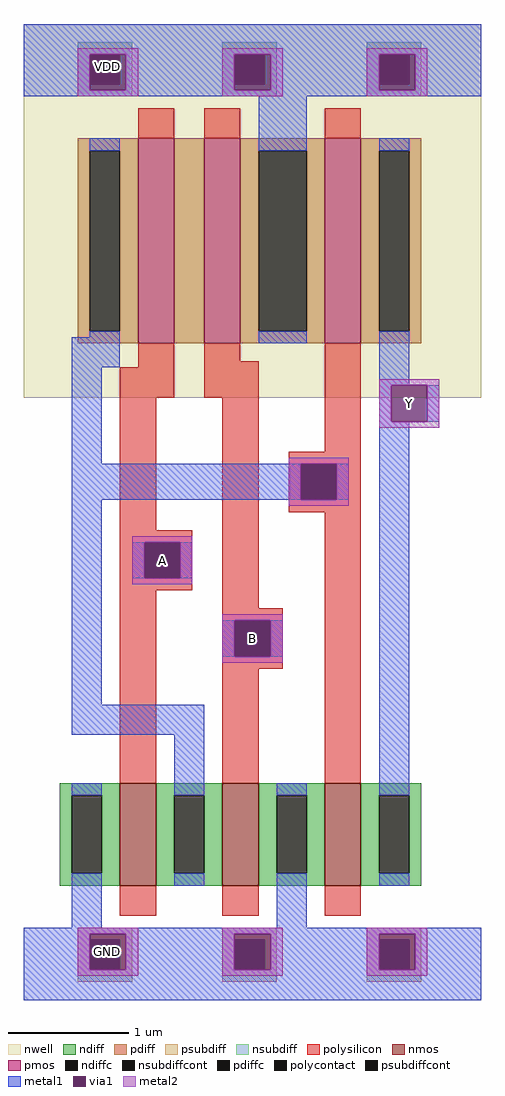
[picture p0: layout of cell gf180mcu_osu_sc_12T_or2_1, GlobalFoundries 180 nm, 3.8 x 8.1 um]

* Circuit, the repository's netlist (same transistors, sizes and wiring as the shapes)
.inc "../../char/techfiles/design.hspice"
.lib "../../char/techfiles/sm141064.hspice" typical

.GLOBAL VDD
.GLOBAL GND

.option scale=0.05u

.subckt gf180mcu_osu_sc_12T_or2_1 B A Y
X0 VDD B a_25_106 VDD pmos_3p3 w=34 l=6
X1 a_25_106 A a_9_106 VDD pmos_3p3 w=34 l=6
X2 Y a_9_106 GND GND nmos_3p3 w=17 l=6
X3 a_9_106 A GND GND nmos_3p3 w=17 l=6
X4 Y a_9_106 VDD VDD pmos_3p3 w=34 l=6
X5 GND B a_9_106 GND nmos_3p3 w=17 l=6
.ends

** hspice subcircuit dictionary

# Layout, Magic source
magic
tech gf180mcuC
<< nwell >>
rect 0 97 76 159
<< nmos >>
rect 16 16 22 33
rect 33 16 39 33
rect 50 16 56 33
<< pmos >>
rect 19 106 25 140
rect 30 106 36 140
rect 50 106 56 140
<< ndiff >>
rect 6 31 16 33
rect 6 18 8 31
rect 13 18 16 31
rect 6 16 16 18
rect 22 31 33 33
rect 22 18 25 31
rect 30 18 33 31
rect 22 16 33 18
rect 39 31 50 33
rect 39 18 42 31
rect 47 18 50 31
rect 39 16 50 18
rect 56 31 66 33
rect 56 18 59 31
rect 64 18 66 31
rect 56 16 66 18
<< pdiff >>
rect 9 138 19 140
rect 9 108 11 138
rect 16 108 19 138
rect 9 106 19 108
rect 25 106 30 140
rect 36 138 50 140
rect 36 108 39 138
rect 47 108 50 138
rect 36 106 50 108
rect 56 138 66 140
rect 56 108 59 138
rect 64 108 66 138
rect 56 106 66 108
<< ndiffc >>
rect 8 18 13 31
rect 25 18 30 31
rect 42 18 47 31
rect 59 18 64 31
<< pdiffc >>
rect 11 108 16 138
rect 39 108 47 138
rect 59 108 64 138
<< psubdiff >>
rect 9 7 18 9
rect 9 2 11 7
rect 16 2 18 7
rect 9 0 18 2
rect 33 7 42 9
rect 33 2 35 7
rect 40 2 42 7
rect 33 0 42 2
rect 57 7 66 9
rect 57 2 59 7
rect 64 2 66 7
rect 57 0 66 2
<< nsubdiff >>
rect 9 154 18 156
rect 9 149 11 154
rect 16 149 18 154
rect 9 147 18 149
rect 33 154 42 156
rect 33 149 35 154
rect 40 149 42 154
rect 33 147 42 149
rect 57 154 66 156
rect 57 149 59 154
rect 64 149 66 154
rect 57 147 66 149
<< psubdiffcont >>
rect 11 2 16 7
rect 35 2 40 7
rect 59 2 64 7
<< nsubdiffcont >>
rect 11 149 16 154
rect 35 149 40 154
rect 59 149 64 154
<< polysilicon >>
rect 19 140 25 145
rect 30 140 36 145
rect 50 140 56 145
rect 19 102 25 106
rect 16 97 25 102
rect 30 103 36 106
rect 30 97 39 103
rect 16 75 22 97
rect 16 73 28 75
rect 16 67 20 73
rect 26 67 28 73
rect 16 65 28 67
rect 16 33 22 65
rect 33 62 39 97
rect 50 88 56 106
rect 44 86 56 88
rect 44 80 46 86
rect 52 80 56 86
rect 44 78 56 80
rect 33 60 43 62
rect 33 54 35 60
rect 41 54 43 60
rect 33 52 43 54
rect 33 33 39 52
rect 50 33 56 78
rect 16 11 22 16
rect 33 11 39 16
rect 50 11 56 16
<< polycontact >>
rect 20 67 26 73
rect 46 80 52 86
rect 35 54 41 60
<< metal1 >>
rect 0 154 76 159
rect 0 148 11 154
rect 17 148 35 154
rect 41 148 59 154
rect 65 148 76 154
rect 0 147 76 148
rect 11 138 16 140
rect 11 107 16 108
rect 8 102 16 107
rect 39 138 47 147
rect 39 106 47 108
rect 59 138 64 140
rect 8 86 13 102
rect 59 99 64 108
rect 59 93 61 99
rect 67 93 69 99
rect 8 80 46 86
rect 52 80 54 86
rect 8 46 13 80
rect 18 67 20 73
rect 26 67 28 73
rect 33 54 35 60
rect 41 54 43 60
rect 8 41 30 46
rect 8 31 13 33
rect 8 9 13 18
rect 25 31 30 41
rect 25 16 30 18
rect 42 31 47 33
rect 42 9 47 18
rect 59 31 64 93
rect 59 16 64 18
rect 0 8 76 9
rect 0 2 11 8
rect 17 2 35 8
rect 41 2 59 8
rect 65 2 76 8
rect 0 -3 76 2
<< via1 >>
rect 11 149 16 154
rect 16 149 17 154
rect 11 148 17 149
rect 35 149 40 154
rect 40 149 41 154
rect 35 148 41 149
rect 59 149 64 154
rect 64 149 65 154
rect 59 148 65 149
rect 61 93 67 99
rect 46 80 52 86
rect 20 67 26 73
rect 35 54 41 60
rect 11 7 17 8
rect 11 2 16 7
rect 16 2 17 7
rect 35 7 41 8
rect 35 2 40 7
rect 40 2 41 7
rect 59 7 65 8
rect 59 2 64 7
rect 64 2 65 7
<< metal2 >>
rect 9 154 19 155
rect 9 148 11 154
rect 17 148 19 154
rect 9 147 19 148
rect 33 154 43 155
rect 33 148 35 154
rect 41 148 43 154
rect 33 147 43 148
rect 57 154 67 155
rect 57 148 59 154
rect 65 148 67 154
rect 57 147 67 148
rect 59 99 69 100
rect 59 93 61 99
rect 67 93 69 99
rect 59 92 69 93
rect 44 86 54 87
rect 44 80 46 86
rect 52 80 54 86
rect 44 79 54 80
rect 18 73 28 74
rect 18 67 20 73
rect 26 67 28 73
rect 18 66 28 67
rect 33 60 43 61
rect 33 54 35 60
rect 41 54 43 60
rect 33 53 43 54
rect 9 8 19 9
rect 9 2 11 8
rect 17 2 19 8
rect 9 1 19 2
rect 33 8 43 9
rect 33 2 35 8
rect 41 2 43 8
rect 33 1 43 2
rect 57 8 67 9
rect 57 2 59 8
rect 65 2 67 8
rect 57 1 67 2
<< labels >>
rlabel metal2 23 70 23 70 1 A
port 2 n
rlabel metal2 64 96 64 96 1 Y
port 3 n
rlabel metal2 14 5 14 5 1 GND
rlabel metal2 14 152 14 152 1 VDD
rlabel metal2 38 57 38 57 1 B
port 1 n
<< end >>
